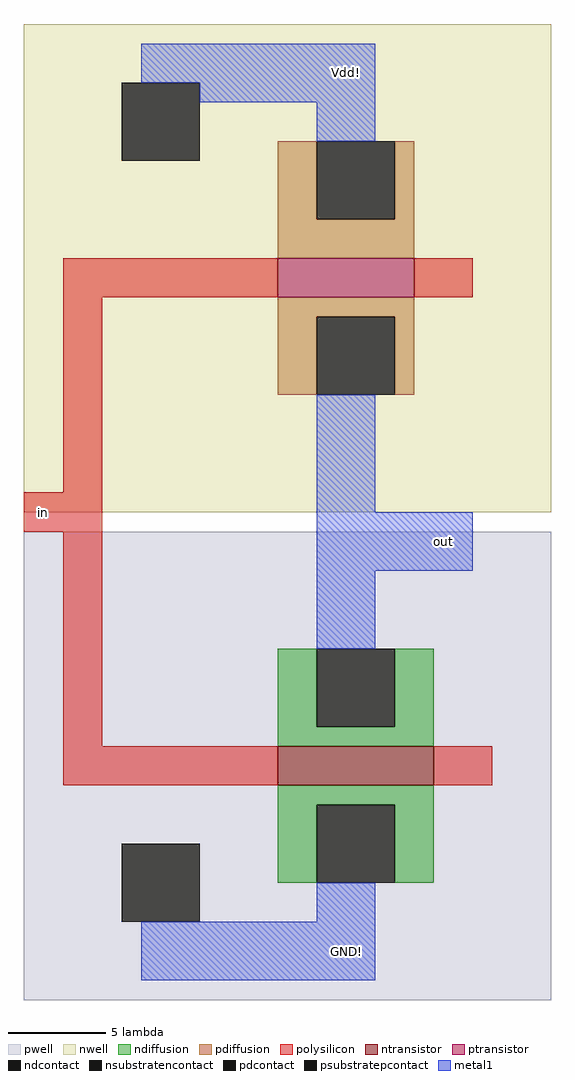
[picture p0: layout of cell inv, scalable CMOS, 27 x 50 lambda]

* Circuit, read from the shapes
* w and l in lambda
.subckt inv GND! Vdd! in out
M1 out in GND! GND! nfet w=8 l=2
M2 Vdd! in out Vdd! pfet w=7 l=2
.ends

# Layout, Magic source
magic
tech scmos
<< nwell >>
rect -12 -7 15 18
<< pwell >>
rect -12 -32 15 -8
<< ntransistor >>
rect 1 -21 9 -19
<< ptransistor >>
rect 1 4 8 6
<< ndiffusion >>
rect 1 -18 3 -14
rect 7 -18 9 -14
rect 1 -19 9 -18
rect 1 -22 9 -21
rect 1 -26 3 -22
rect 7 -26 9 -22
<< pdiffusion >>
rect 1 8 3 12
rect 7 8 8 12
rect 1 6 8 8
rect 1 3 8 4
rect 1 -1 3 3
rect 7 -1 8 3
<< ndcontact >>
rect 3 -18 7 -14
rect 3 -26 7 -22
<< pdcontact >>
rect 3 8 7 12
rect 3 -1 7 3
<< psubstratepcontact >>
rect -7 -28 -3 -24
<< nsubstratencontact >>
rect -7 11 -3 15
<< polysilicon >>
rect -10 4 1 6
rect 8 4 11 6
rect -10 -6 -8 4
rect -12 -8 -8 -6
rect -10 -19 -8 -8
rect -10 -21 1 -19
rect 9 -21 12 -19
<< metal1 >>
rect -6 15 6 17
rect -3 14 6 15
rect 3 12 6 14
rect 3 -7 6 -1
rect 3 -10 11 -7
rect 3 -14 6 -10
rect 3 -28 6 -26
rect -6 -31 6 -28
<< labels >>
rlabel metal1 8 -10 11 -7 1 out
rlabel metal1 4 15 5 16 5 Vdd!
rlabel metal1 4 -30 5 -29 1 GND!
rlabel polysilicon -12 -8 -10 -6 3 in
<< end >>
